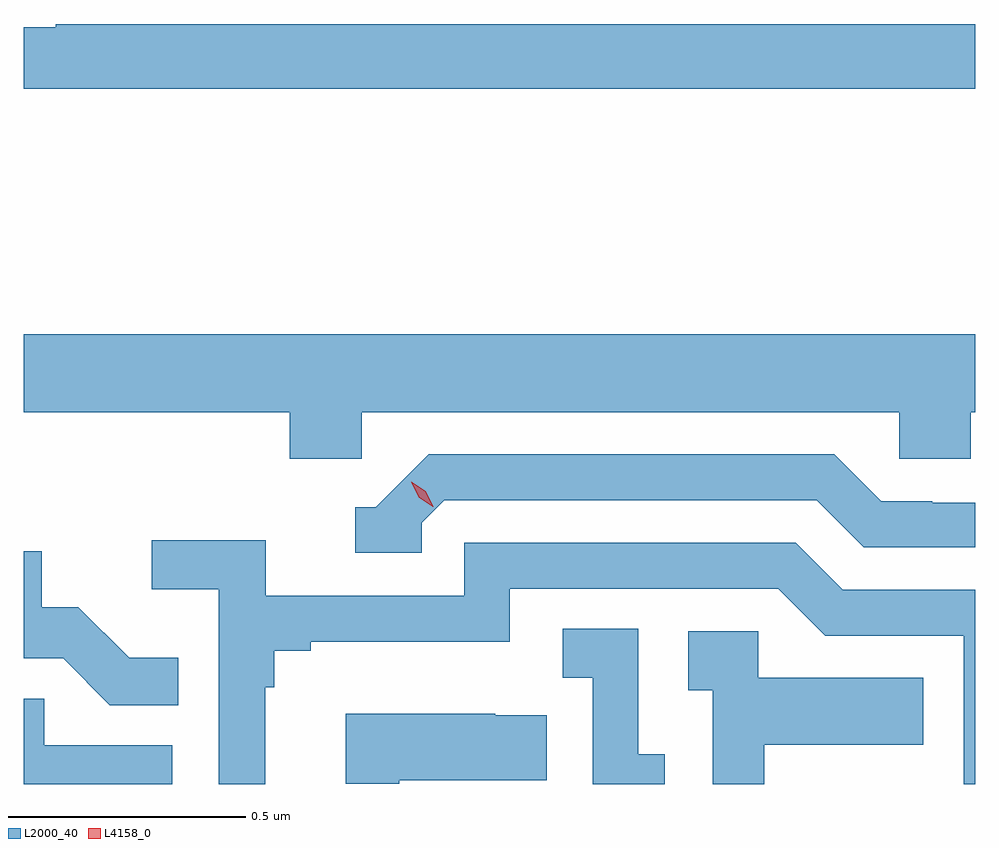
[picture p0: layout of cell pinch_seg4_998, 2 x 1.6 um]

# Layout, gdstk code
import gdstk
lib = gdstk.Library(unit=1e-6, precision=1e-09)
def P(c, l, *ps):  # polygons
    for p in ps: c.add(gdstk.Polygon(p, *l))
L2000_40 = (2000, 40)
L4158_0 = (4158, 0)

pinch_seg4_998 = lib.new_cell('pinch_seg4_998')
P(pinch_seg4_998, L2000_40, [(862.716,784.316),(860.783,784.316),(860.783,784.309),(860.716,784.309),(860.716,784.18),(862.716,784.18)],
  [(861.426,783.5),(862.557,783.5),(862.557,783.402),(862.707,783.402),(862.707,783.5),(862.716,783.5),(862.716,783.664),(860.716,783.664),(860.716,783.5),(861.275,783.5),(861.275,783.402),(861.426,783.402)],
  [(861.552,783.267),(861.6,783.315),(862.383,783.315),(862.482,783.216),(862.716,783.216),(862.716,783.309),(862.626,783.309),(862.626,783.312),(862.519,783.312),(862.42,783.411),(861.567,783.411),(861.456,783.3),(861.413,783.3),(861.413,783.204),(861.552,783.204)],
  [(861.223,782.921),(861.242,782.921),(861.242,782.998),(861.319,782.998),(861.319,783.017),(861.738,783.017),(861.738,783.129),(862.302,783.129),(862.401,783.03),(862.692,783.03),(862.692,782.718),(862.716,782.718),(862.716,783.126),(862.438,783.126),(862.339,783.225),(861.642,783.225),(861.642,783.114),(861.224,783.114),(861.224,783.23),(860.985,783.23),(860.985,783.128),(861.126,783.128),(861.126,782.718),(861.223,782.718)],
  [(861.041,782.983),(860.937,782.983),(860.83,783.09),(860.754,783.09),(860.754,783.207),(860.716,783.207),(860.716,782.982),(860.799,782.982),(860.897,782.884),(861.041,782.884)],
  [(862.063,782.781),(862.008,782.781),(862.008,783.044),(861.849,783.044),(861.849,782.941),(861.912,782.941),(861.912,782.718),(862.063,782.718)],
  [(862.273,782.801),(862.607,782.801),(862.607,782.941),(862.26,782.941),(862.26,783.039),(862.113,783.039),(862.113,782.915),(862.164,782.915),(862.164,782.718),(862.273,782.718)],
  [(861.028,782.799),(860.759,782.799),(860.759,782.897),(860.716,782.897),(860.716,782.718),(861.028,782.718)],
  [(861.505,782.726),(861.815,782.726),(861.815,782.863),(861.707,782.863),(861.707,782.866),(861.393,782.866),(861.393,782.719),(861.505,782.719)])
P(pinch_seg4_998, L4158_0, [(861.576,783.301),(861.546,783.321),(861.53,783.354),(861.53,783.354),(861.53,783.354),(861.561,783.334),(861.577,783.302),(861.577,783.301)])

lib.write_gds('pinch_seg4_998.gds')
